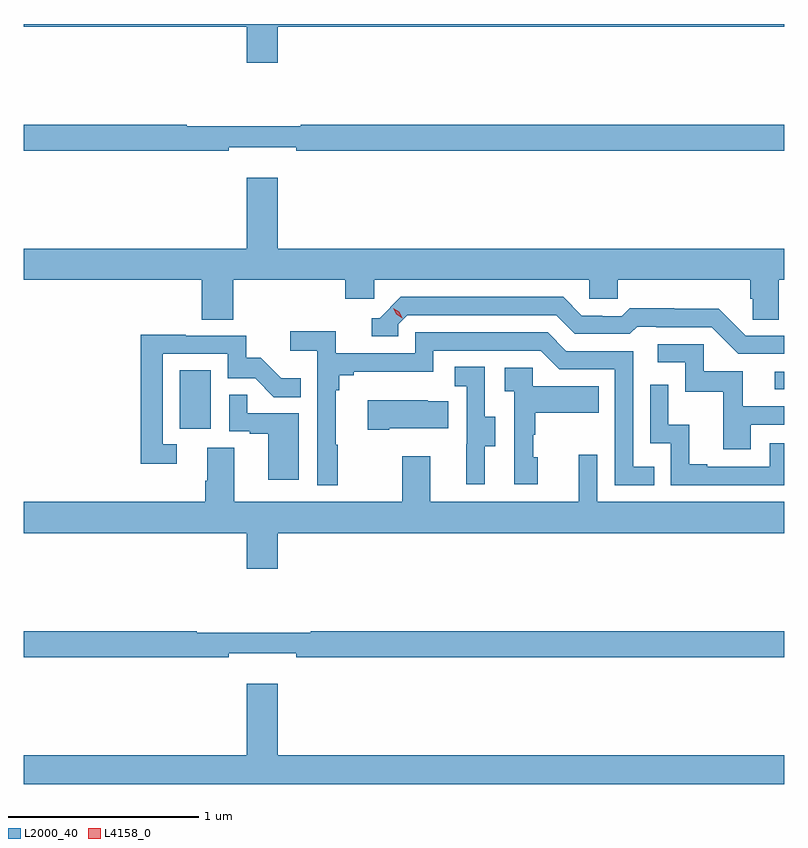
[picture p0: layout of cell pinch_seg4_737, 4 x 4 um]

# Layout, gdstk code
import gdstk
lib = gdstk.Library(unit=1e-6, precision=1e-09)
def R(c, l, rs):  # rectangles x0, y0, x1, y1
    for r in rs: c.add(gdstk.rectangle(r[:2], r[2:], *l))
def P(c, l, *ps):  # polygons
    for p in ps: c.add(gdstk.Polygon(p, *l))
L2000_40 = (2000, 40)
L4158_0 = (4158, 0)

pinch_seg4_737 = lib.new_cell('pinch_seg4_737')
R(pinch_seg4_737, L2000_40, [(883.934,830.67,884.098,830.977), (887.067,830.877,887.115,830.97)])
P(pinch_seg4_737, L2000_40, [(884.452,832.784),(887.115,832.784),(887.115,832.799),(883.115,832.799),(883.115,832.784),(884.288,832.784),(884.288,832.596),(884.452,832.596)],
  [(884.192,832.151),(884.548,832.151),(884.548,832.132),(887.115,832.132),(887.115,832.268),(884.573,832.268),(884.573,832.261),(883.973,832.261),(883.973,832.268),(883.115,832.268),(883.115,832.132),(884.192,832.132)],
  [(884.452,831.991),(884.288,831.991),(884.288,831.616),(883.115,831.616),(883.115,831.452),(884.051,831.452),(884.051,831.244),(884.216,831.244),(884.216,831.452),(884.807,831.452),(884.807,831.354),(884.958,831.354),(884.958,831.452),(886.089,831.452),(886.089,831.354),(886.239,831.354),(886.239,831.452),(886.937,831.452),(886.937,831.354),(886.951,831.354),(886.951,831.244),(887.088,831.244),(887.088,831.452),(887.115,831.452),(887.115,831.616),(884.452,831.616)],
  [(887.115,831.159),(886.914,831.159),(886.772,831.301),(886.536,831.301),(886.536,831.304),(886.303,831.304),(886.261,831.261),(886.158,831.261),(886.158,831.264),(886.051,831.264),(885.952,831.363),(885.099,831.363),(884.988,831.252),(884.945,831.252),(884.945,831.156),(885.084,831.156),(885.084,831.219),(885.132,831.267),(885.915,831.267),(886.014,831.168),(886.303,831.168),(886.342,831.207),(886.441,831.207),(886.441,831.204),(886.734,831.204),(886.875,831.063),(887.115,831.063)],
  [(884.767,830.585),(884.755,830.585),(884.755,830.873),(884.774,830.873),(884.774,830.95),(884.851,830.95),(884.851,830.969),(885.27,830.969),(885.27,831.081),(885.834,831.081),(885.933,830.982),(886.224,830.982),(886.224,830.373),(886.433,830.373),(886.433,830.469),(886.32,830.469),(886.32,831.078),(885.97,831.078),(885.871,831.177),(885.174,831.177),(885.174,831.066),(884.756,831.066),(884.756,831.182),(884.517,831.182),(884.517,831.08),(884.658,831.08),(884.658,830.373),(884.767,830.373)],
  [(883.918,830.589),(883.845,830.589),(883.845,831.063),(884.187,831.063),(884.187,830.934),(884.331,830.934),(884.429,830.836),(884.573,830.836),(884.573,830.935),(884.469,830.935),(884.362,831.042),(884.286,831.042),(884.286,831.159),(883.967,831.159),(883.967,831.164),(883.729,831.164),(883.729,830.484),(883.918,830.484)],
  [(886.939,830.691),(887.115,830.691),(887.115,830.787),(886.897,830.787),(886.897,830.973),(886.692,830.973),(886.692,831.114),(886.449,831.114),(886.449,831.018),(886.596,831.018),(886.596,830.865),(886.795,830.865),(886.795,830.562),(886.939,830.562)],
  [(885.541,830.578),(885.595,830.578),(885.595,830.733),(885.54,830.733),(885.54,830.996),(885.381,830.996),(885.381,830.893),(885.444,830.893),(885.444,830.589),(885.443,830.589),(885.443,830.376),(885.541,830.376)],
  [(885.82,830.52),(885.795,830.52),(885.795,830.639),(885.805,830.639),(885.805,830.753),(886.139,830.753),(886.139,830.893),(885.792,830.893),(885.792,830.991),(885.645,830.991),(885.645,830.867),(885.696,830.867),(885.696,830.376),(885.82,830.376)],
  [(887.115,830.592),(887.04,830.592),(887.04,830.469),(886.711,830.469),(886.711,830.482),(886.616,830.482),(886.616,830.69),(886.506,830.69),(886.506,830.902),(886.41,830.902),(886.41,830.592),(886.518,830.592),(886.518,830.373),(887.115,830.373)],
  [(884.56,830.751),(884.291,830.751),(884.291,830.849),(884.196,830.849),(884.196,830.655),(884.303,830.655),(884.303,830.643),(884.402,830.643),(884.402,830.4),(884.56,830.4)],
  [(885.037,830.672),(885.347,830.672),(885.347,830.815),(885.239,830.815),(885.239,830.818),(884.925,830.818),(884.925,830.665),(885.037,830.665)],
  [(884.452,830.12),(887.115,830.12),(887.115,830.284),(886.131,830.284),(886.131,830.533),(886.034,830.533),(886.034,830.284),(885.253,830.284),(885.253,830.524),(885.106,830.524),(885.106,830.284),(884.221,830.284),(884.221,830.57),(884.081,830.57),(884.081,830.396),(884.069,830.396),(884.069,830.284),(883.115,830.284),(883.115,830.12),(884.288,830.12),(884.288,829.932),(884.452,829.932)],
  [(884.192,829.487),(884.548,829.487),(884.548,829.468),(887.115,829.468),(887.115,829.604),(884.624,829.604),(884.624,829.597),(884.024,829.597),(884.024,829.604),(883.115,829.604),(883.115,829.468),(884.192,829.468)],
  [(887.115,828.952),(884.452,828.952),(884.452,829.327),(884.288,829.327),(884.288,828.952),(883.115,828.952),(883.115,828.8),(887.115,828.8)])
P(pinch_seg4_737, L4158_0, [(885.106,831.252),(885.075,831.271),(885.059,831.303),(885.059,831.303),(885.059,831.303),(885.09,831.284),(885.107,831.252),(885.107,831.252)])

lib.write_gds('pinch_seg4_737.gds')
